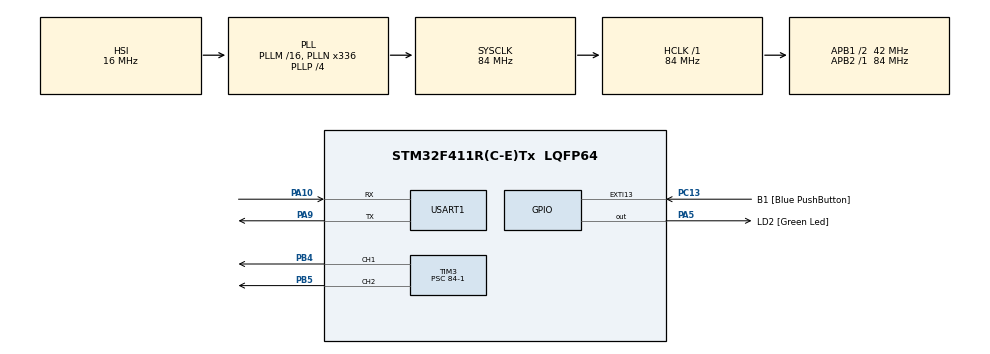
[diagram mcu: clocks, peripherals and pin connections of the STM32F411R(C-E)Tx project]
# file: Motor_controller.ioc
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Mcu.Family=STM32F4
Mcu.Name=STM32F411R(C-E)Tx
Mcu.Package=LQFP64
NVIC.PriorityGroup=NVIC_PRIORITYGROUP_0
PA10.Mode=Asynchronous
PA10.Signal=USART1_RX
PA13.GPIO_Label=TMS
PA13.Mode=Serial_Wire
PA13.Signal=SYS_JTMS-SWDIO
PA14.GPIO_Label=TCK
PA14.Mode=Serial_Wire
PA14.Signal=SYS_JTCK-SWCLK
PA2.GPIO_Label=USART_TX
PA2.Signal=USART2_TX
PA3.GPIO_Label=USART_RX
PA3.Signal=USART2_RX
PA5.GPIO_Label=LD2 [Green Led]
PA5.Signal=GPIO_Output
PA9.Mode=Asynchronous
PA9.Signal=USART1_TX
PB3.GPIO_Label=SWO
PB3.Signal=SYS_JTDO-SWO
PB4.Signal=S_TIM3_CH1
PB5.Signal=S_TIM3_CH2
PC13-ANTI_TAMP.GPIO_Label=B1 [Blue PushButton]
PC13-ANTI_TAMP.GPIO_ModeDefaultEXTI=GPIO_MODE_IT_FALLING
PC13-ANTI_TAMP.Signal=GPXTI13
PC14-OSC32_IN.Mode=LSE-External-Oscillator
PC14-OSC32_IN.Signal=RCC_OSC32_IN
PC15-OSC32_OUT.Mode=LSE-External-Oscillator
PC15-OSC32_OUT.Signal=RCC_OSC32_OUT
PH0\ -\ OSC_IN.Mode=HSE-External-Clock-Source
PH0\ -\ OSC_IN.Signal=RCC_OSC_IN
PH1\ -\ OSC_OUT.Mode=HSE-External-Clock-Source
PH1\ -\ OSC_OUT.Signal=RCC_OSC_OUT
ProjectManager.HeapSize=0x200
ProjectManager.StackSize=0x400
ProjectManager.TargetToolchain=STM32CubeIDE
RCC.48MHZClocksFreq_Value=84000000
RCC.AHBFreq_Value=84000000
RCC.APB1CLKDivider=RCC_HCLK_DIV2
RCC.APB1Freq_Value=42000000
RCC.APB1TimFreq_Value=84000000
RCC.APB2Freq_Value=84000000
RCC.APB2TimFreq_Value=84000000
RCC.CortexFreq_Value=84000000
RCC.FLatency-AdvancedSettings=FLASH_LATENCY_2
RCC.HCLKFreq_Value=84000000
RCC.HSE_VALUE=8000000
RCC.HSI_VALUE=16000000
RCC.PLLN=336
RCC.PLLP=RCC_PLLP_DIV4
RCC.SYSCLKFreq_VALUE=84000000
RCC.SYSCLKSource=RCC_SYSCLKSOURCE_PLLCLK
RCC.VCOOutputFreq_Value=336000000
SH.S_TIM3_CH1.0=TIM3_CH1,PWM Generation1 CH1
SH.S_TIM3_CH2.0=TIM3_CH2,PWM Generation2 CH2
TIM3.Channel-PWM\ Generation1\ CH1=TIM_CHANNEL_1
TIM3.Channel-PWM\ Generation2\ CH2=TIM_CHANNEL_2
TIM3.Period=20000-1
TIM3.Prescaler=84-1
USART1.VirtualMode=VM_ASYNC
VP_TIM3_VS_ClockSourceINT.Mode=Internal
board=NUCLEO-F411RE

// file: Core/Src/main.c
/* USER CODE BEGIN Header */
/**
  ******************************************************************************
  * @file           : main.c
  * @brief          : Main program body
  ******************************************************************************
  */
/* USER CODE END Header */
#include "main.h"

/* USER CODE BEGIN Includes */
#include "string.h"
#include "stdio.h"
/* USER CODE END Includes */

TIM_HandleTypeDef htim3;
UART_HandleTypeDef huart1;

void SystemClock_Config(void);
static void MX_GPIO_Init(void);
static void MX_TIM3_Init(void);
static void MX_USART1_UART_Init(void);

int main(void)
{
  HAL_Init();
  SystemClock_Config();
  MX_GPIO_Init();
  MX_TIM3_Init();
  MX_USART1_UART_Init();

  /* USER CODE BEGIN 2 */
  HAL_TIM_PWM_Start(&htim3, TIM_CHANNEL_1);
  HAL_TIM_PWM_Start(&htim3, TIM_CHANNEL_2);
  __HAL_TIM_SET_COMPARE(&htim3, TIM_CHANNEL_1, 1500);
  __HAL_TIM_SET_COMPARE(&htim3, TIM_CHANNEL_2, 1500);
  HAL_Delay(1000);
  HAL_UART_Transmit(&huart1, (uint8_t*)"READY\r\n", 7, 100);
  /* USER CODE END 2 */

  /* USER CODE BEGIN WHILE */
  char rx_buf[32];
  uint8_t rx_byte = 0;
  uint8_t rx_idx = 0;

  while (1)
  {
      if (HAL_UART_Receive(&huart1, &rx_byte, 1, 10) == HAL_OK) {
          if (rx_byte == '\n' || rx_byte == '\r') {
              if (rx_idx == 0) continue;
              rx_buf[rx_idx] = '\0';
              rx_idx = 0;

              if (strncmp(rx_buf, "REJECT1", 7) == 0) {
                  __HAL_TIM_SET_COMPARE(&htim3, TIM_CHANNEL_1, 2000);
                  HAL_Delay(500);
                  __HAL_TIM_SET_COMPARE(&htim3, TIM_CHANNEL_1, 1500);
                  HAL_UART_Transmit(&huart1, (uint8_t*)"OK1\r\n", 5, 100);

              } else if (strncmp(rx_buf, "REJECT2", 7) == 0) {
                  __HAL_TIM_SET_COMPARE(&htim3, TIM_CHANNEL_2, 2000);
                  HAL_Delay(500);
                  __HAL_TIM_SET_COMPARE(&htim3, TIM_CHANNEL_2, 1500);
                  HAL_UART_Transmit(&huart1, (uint8_t*)"OK2\r\n", 5, 100);
              }
          } else if (rx_idx < sizeof(rx_buf) - 1) {
              rx_buf[rx_idx++] = rx_byte;
          }
      }
  }
  /* USER CODE END WHILE */
}

void SystemClock_Config(void)
{
  RCC_OscInitTypeDef RCC_OscInitStruct = {0};
  RCC_ClkInitTypeDef RCC_ClkInitStruct = {0};

  __HAL_RCC_PWR_CLK_ENABLE();
  __HAL_PWR_VOLTAGESCALING_CONFIG(PWR_REGULATOR_VOLTAGE_SCALE1);

  RCC_OscInitStruct.OscillatorType = RCC_OSCILLATORTYPE_HSI;
  RCC_OscInitStruct.HSIState = RCC_HSI_ON;
  RCC_OscInitStruct.HSICalibrationValue = RCC_HSICALIBRATION_DEFAULT;
  RCC_OscInitStruct.PLL.PLLState = RCC_PLL_ON;
  RCC_OscInitStruct.PLL.PLLSource = RCC_PLLSOURCE_HSI;
  RCC_OscInitStruct.PLL.PLLM = 16;
  RCC_OscInitStruct.PLL.PLLN = 336;
  RCC_OscInitStruct.PLL.PLLP = RCC_PLLP_DIV4;
  RCC_OscInitStruct.PLL.PLLQ = 4;
  if (HAL_RCC_OscConfig(&RCC_OscInitStruct) != HAL_OK) Error_Handler();

  RCC_ClkInitStruct.ClockType = RCC_CLOCKTYPE_HCLK|RCC_CLOCKTYPE_SYSCLK
                              |RCC_CLOCKTYPE_PCLK1|RCC_CLOCKTYPE_PCLK2;
  RCC_ClkInitStruct.SYSCLKSource = RCC_SYSCLKSOURCE_PLLCLK;
  RCC_ClkInitStruct.AHBCLKDivider = RCC_SYSCLK_DIV1;
  RCC_ClkInitStruct.APB1CLKDivider = RCC_HCLK_DIV2;
  RCC_ClkInitStruct.APB2CLKDivider = RCC_HCLK_DIV1;
  if (HAL_RCC_ClockConfig(&RCC_ClkInitStruct, FLASH_LATENCY_2) != HAL_OK) Error_Handler();
}

static void MX_TIM3_Init(void)
{
  TIM_ClockConfigTypeDef sClockSourceConfig = {0};
  TIM_MasterConfigTypeDef sMasterConfig = {0};
  TIM_OC_InitTypeDef sConfigOC = {0};

  htim3.Instance = TIM3;
  htim3.Init.Prescaler = 84-1;
  htim3.Init.CounterMode = TIM_COUNTERMODE_UP;
  htim3.Init.Period = 20000-1;
  htim3.Init.ClockDivision = TIM_CLOCKDIVISION_DIV1;
  htim3.Init.AutoReloadPreload = TIM_AUTORELOAD_PRELOAD_DISABLE;
  if (HAL_TIM_Base_Init(&htim3) != HAL_OK) Error_Handler();

  sClockSourceConfig.ClockSource = TIM_CLOCKSOURCE_INTERNAL;
  if (HAL_TIM_ConfigClockSource(&htim3, &sClockSourceConfig) != HAL_OK) Error_Handler();
  if (HAL_TIM_PWM_Init(&htim3) != HAL_OK) Error_Handler();

  sMasterConfig.MasterOutputTrigger = TIM_TRGO_RESET;
  sMasterConfig.MasterSlaveMode = TIM_MASTERSLAVEMODE_DISABLE;
  if (HAL_TIMEx_MasterConfigSynchronization(&htim3, &sMasterConfig) != HAL_OK) Error_Handler();

  sConfigOC.OCMode = TIM_OCMODE_PWM1;
  sConfigOC.Pulse = 0;
  sConfigOC.OCPolarity = TIM_OCPOLARITY_HIGH;
  sConfigOC.OCFastMode = TIM_OCFAST_DISABLE;
  if (HAL_TIM_PWM_ConfigChannel(&htim3, &sConfigOC, TIM_CHANNEL_1) != HAL_OK) Error_Handler();
  if (HAL_TIM_PWM_ConfigChannel(&htim3, &sConfigOC, TIM_CHANNEL_2) != HAL_OK) Error_Handler();

  HAL_TIM_MspPostInit(&htim3);
}

static void MX_USART1_UART_Init(void)
{
  huart1.Instance = USART1;
  huart1.Init.BaudRate = 115200;
  huart1.Init.WordLength = UART_WORDLENGTH_8B;
  huart1.Init.StopBits = UART_STOPBITS_1;
  huart1.Init.Parity = UART_PARITY_NONE;
  huart1.Init.Mode = UART_MODE_TX_RX;
  huart1.Init.HwFlowCtl = UART_HWCONTROL_NONE;
  huart1.Init.OverSampling = UART_OVERSAMPLING_16;
  if (HAL_UART_Init(&huart1) != HAL_OK) Error_Handler();
}

static void MX_GPIO_Init(void)
{
  GPIO_InitTypeDef GPIO_InitStruct = {0};

  __HAL_RCC_GPIOC_CLK_ENABLE();
  __HAL_RCC_GPIOH_CLK_ENABLE();
  __HAL_RCC_GPIOA_CLK_ENABLE();
  __HAL_RCC_GPIOB_CLK_ENABLE();

  HAL_GPIO_WritePin(LD2_GPIO_Port, LD2_Pin, GPIO_PIN_RESET);

  // B1 버튼
  GPIO_InitStruct.Pin = B1_Pin;
  GPIO_InitStruct.Mode = GPIO_MODE_IT_FALLING;
  GPIO_InitStruct.Pull = GPIO_NOPULL;
  HAL_GPIO_Init(B1_GPIO_Port, &GPIO_InitStruct);

  // LD2 LED
  GPIO_InitStruct.Pin = LD2_Pin;
  GPIO_InitStruct.Mode = GPIO_MODE_OUTPUT_PP;
  GPIO_InitStruct.Pull = GPIO_NOPULL;
  GPIO_InitStruct.Speed = GPIO_SPEED_FREQ_LOW;
  HAL_GPIO_Init(LD2_GPIO_Port, &GPIO_InitStruct);

  // USART1 핀 설정 (PA9=TX, PA10=RX)
  GPIO_InitStruct.Pin = GPIO_PIN_9 | GPIO_PIN_10;
  GPIO_InitStruct.Mode = GPIO_MODE_AF_PP;
  GPIO_InitStruct.Pull = GPIO_NOPULL;
  GPIO_InitStruct.Speed = GPIO_SPEED_FREQ_VERY_HIGH;
  GPIO_InitStruct.Alternate = GPIO_AF7_USART1;
  HAL_GPIO_Init(GPIOA, &GPIO_InitStruct);
}

void Error_Handler(void)
{
  __disable_irq();
  while (1) {}
}
